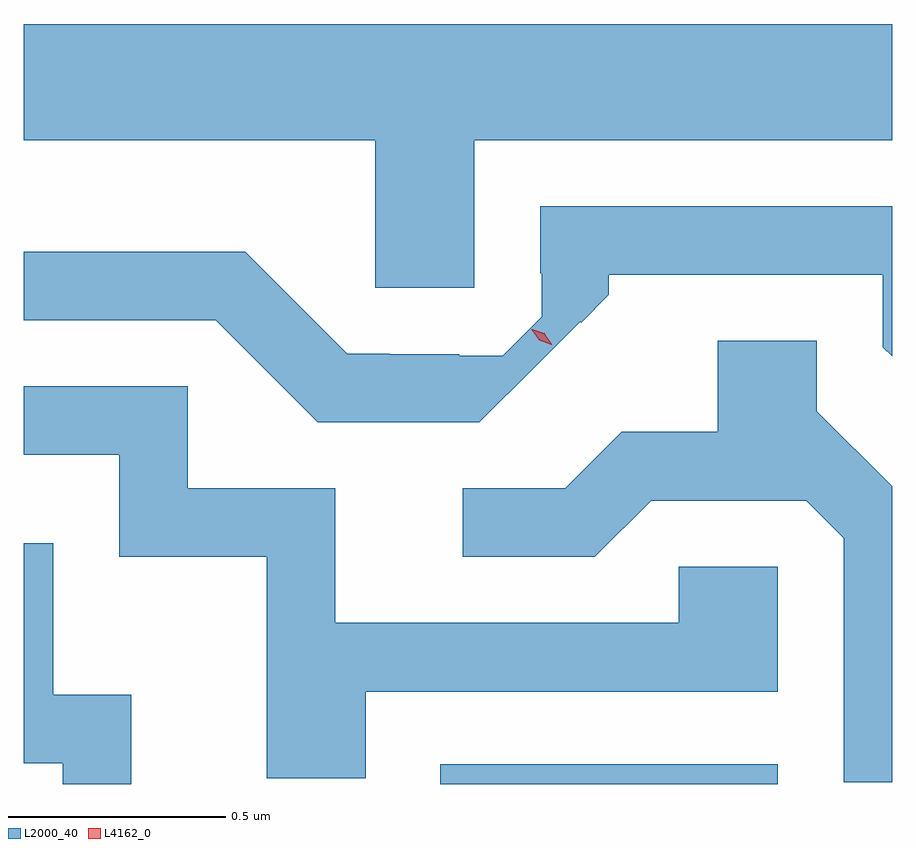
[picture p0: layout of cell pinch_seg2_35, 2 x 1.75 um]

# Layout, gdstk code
import gdstk
lib = gdstk.Library(unit=1e-6, precision=1e-09)
def R(c, l, rs):  # rectangles x0, y0, x1, y1
    for r in rs: c.add(gdstk.rectangle(r[:2], r[2:], *l))
def P(c, l, *ps):  # polygons
    for p in ps: c.add(gdstk.Polygon(p, *l))
L2000_40 = (2000, 40)
L4162_0 = (4162, 0)

pinch_seg2_35 = lib.new_cell('pinch_seg2_35')
R(pinch_seg2_35, L2000_40, [(1669.691,1033.513,1670.469,1033.559)])
P(pinch_seg2_35, L2000_40, [(1669.769,1034.996),(1670.732,1034.996),(1670.732,1035.264),(1668.732,1035.264),(1668.732,1034.996),(1669.541,1034.996),(1669.541,1034.656),(1669.769,1034.656)],
  [(1669.847,1034.412),(1669.847,1034.411),(1670.014,1034.578),(1670.016,1034.576),(1670.079,1034.64),(1670.079,1034.686),(1670.711,1034.686),(1670.711,1034.519),(1670.732,1034.498),(1670.732,1034.844),(1669.922,1034.844),(1669.922,1034.69),(1669.925,1034.69),(1669.925,1034.59),(1669.835,1034.5),(1669.735,1034.5),(1669.735,1034.503),(1669.575,1034.503),(1669.575,1034.504),(1669.477,1034.504),(1669.242,1034.739),(1668.732,1034.739),(1668.732,1034.581),(1669.174,1034.581),(1669.409,1034.346),(1669.781,1034.346)],
  [(1670.732,1034.199),(1670.559,1034.372),(1670.559,1034.534),(1670.331,1034.534),(1670.331,1034.324),(1670.109,1034.324),(1669.979,1034.194),(1669.743,1034.194),(1669.743,1034.036),(1670.047,1034.036),(1670.177,1034.166),(1670.534,1034.166),(1670.621,1034.079),(1670.621,1033.517),(1670.732,1033.517)],
  [(1669.519,1033.726),(1670.469,1033.726),(1670.469,1034.014),(1670.241,1034.014),(1670.241,1033.884),(1669.449,1033.884),(1669.449,1034.194),(1669.109,1034.194),(1669.109,1034.429),(1668.732,1034.429),(1668.732,1034.271),(1668.951,1034.271),(1668.951,1034.036),(1669.291,1034.036),(1669.291,1033.526),(1669.519,1033.526)],
  [(1668.979,1033.719),(1668.799,1033.719),(1668.799,1034.068),(1668.732,1034.068),(1668.732,1033.561),(1668.821,1033.561),(1668.821,1033.513),(1668.979,1033.513)])
P(pinch_seg2_35, L4162_0, [(1669.939,1034.532),(1669.919,1034.537),(1669.912,1034.555),(1669.912,1034.556),(1669.912,1034.556),(1669.932,1034.552),(1669.939,1034.533),(1669.939,1034.532)],
  [(1669.947,1034.525),(1669.919,1034.535),(1669.902,1034.56),(1669.902,1034.561),(1669.903,1034.561),(1669.931,1034.551),(1669.948,1034.526),(1669.948,1034.525)])

lib.write_gds('pinch_seg2_35.gds')
